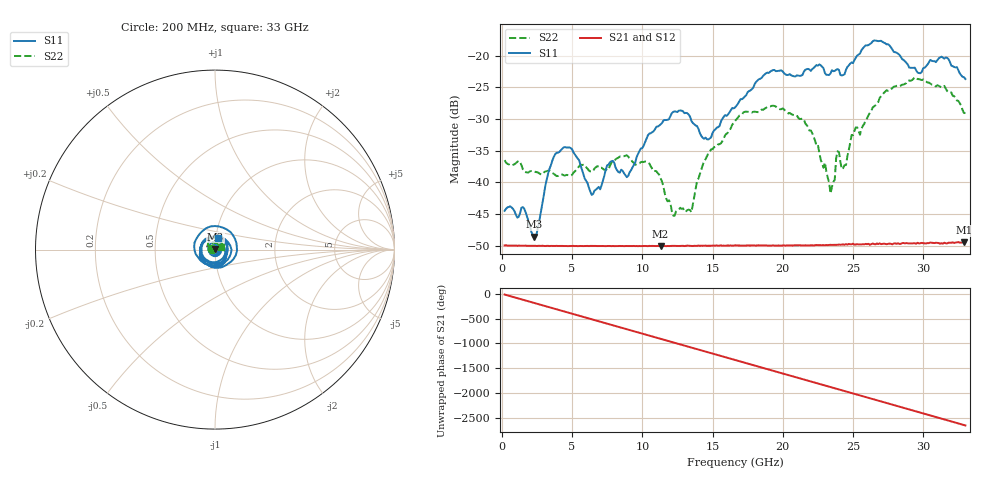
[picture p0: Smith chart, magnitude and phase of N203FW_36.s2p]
# GHZ S RI R 50
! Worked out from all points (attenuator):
!   329 points, 200 MHz to 33 GHz, reference 50 ohm
!   highest |S21| = -49.44 dB at 32.9 GHz (marker M1); lowest = -50.1 dB at 11.3 GHz (marker M2)
!   lowest |S11| = -48.6 dB at 2.3 GHz (marker M3), VSWR 1.01, Z = 50.1 + j0.35 ohm
!   |S11| at or under -10 dB: start of sweep to end of sweep
!   |S22| runs from -45.3 to -23.4 dB; largest |S21 - S12| = 8.8e-05
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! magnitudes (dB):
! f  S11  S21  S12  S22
! 200 MHz  -44.5  -50.0  -49.9  -36.5
! 2.3 GHz  -48.6  -50.0  -50.0  -38.3
! 3.8 GHz  -35.6  -50.0  -50.0  -38.8
! 5.7 GHz  -38.0  -50.1  -50.0  -37.3
! 6.4 GHz  -42.0  -50.0  -50.1  -38.3
! 7.8 GHz  -36.7  -50.1  -50.1  -36.9
! 8.9 GHz  -39.2  -50.0  -50.0  -35.7
! 11.2 GHz  -31.1  -50.1  -50.0  -38.8
! 11.3 GHz  -30.9  -50.1  -50.0  -39.3
! 12.2 GHz  -28.9  -50.0  -50.0  -45.3
! 13.5 GHz  -30.3  -50.1  -50.0  -44.7
! 14.4 GHz  -33.1  -50.0  -50.0  -36.6
! 16.6 GHz  -28.2  -49.9  -50.0  -30.3
! 19.4 GHz  -22.3  -50.0  -50.0  -27.9
! 22.1 GHz  -22.1  -49.9  -49.9  -32.3
! 23.4 GHz  -22.8  -49.9  -49.9  -41.8
! 23.9 GHz  -22.2  -49.9  -49.9  -35.1
! 24.5 GHz  -22.2  -49.8  -49.7  -37.3
! 27.6 GHz  -18.4  -49.7  -49.7  -25.6
! 30 GHz  -22.0  -49.6  -49.6  -23.8
! 32.9 GHz  -23.4  -49.4  -49.4  -29.1
! 33 GHz  -23.7  -49.5  -49.5  -29.1
